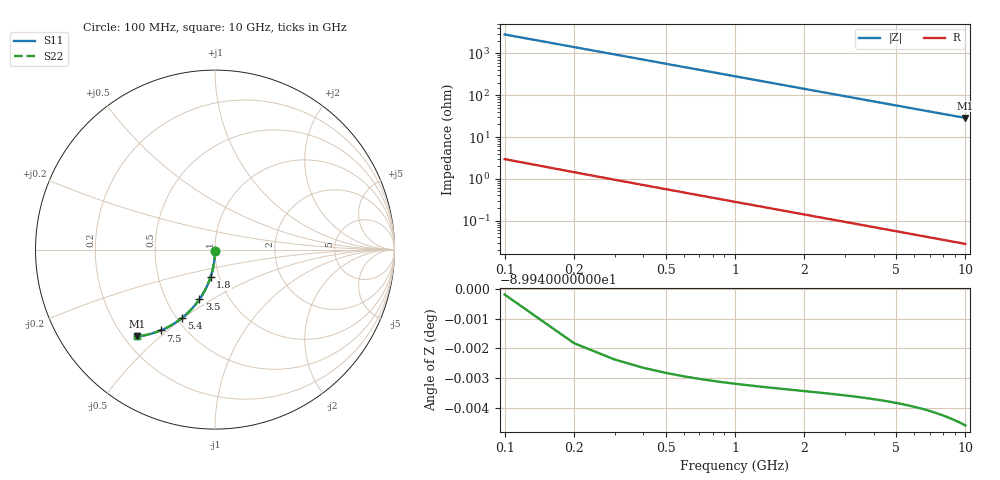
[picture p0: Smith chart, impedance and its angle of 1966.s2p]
# Hz S RI R 50.00
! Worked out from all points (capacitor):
!   100 points, 100 MHz to 10 GHz, reference 50 ohm
!   read as one part in shunt: C = 560 fF near 100 MHz
!   lowest |Z| = 28.7 ohm at 10 GHz (marker M1)
!   S11 on the Smith chart (normalised r, x): 100 MHz: 1.00, -0.02; 1.8 GHz: 0.91, -0.28; 3.5 GHz: 0.73, -0.44; 5.4 GHz: 0.53, -0.49; 7.5 GHz: 0.37, -0.47; 10 GHz: 0.25, -0.42
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1e8  -6.09e-05 -0.00868  0.9999 -0.0089  0.9999 -0.0089  -6.09e-05 -0.00868
2e8  -0.000301 -0.0173  0.9996 -0.0178  0.9996 -0.0178  -0.000301 -0.0173
3e8  -0.000695 -0.026  0.9993 -0.0267  0.9993 -0.0267  -0.000695 -0.026
4e8  -0.00124 -0.0347  0.9987 -0.0356  0.9987 -0.0356  -0.00124 -0.0347
5e8  -0.00195 -0.0433  0.998 -0.0444  0.998 -0.0444  -0.00195 -0.0433
6e8  -0.0028 -0.0519  0.9971 -0.0533  0.9971 -0.0533  -0.0028 -0.0519
8e8  -0.00496 -0.0691  0.995 -0.0709  0.995 -0.0709  -0.00496 -0.0691
1.1e9  -0.00933 -0.0945  0.9906 -0.097  0.9906 -0.097  -0.00933 -0.0945
1.4e9  -0.015 -0.1196  0.9849 -0.1228  0.9849 -0.1228  -0.015 -0.1196
1.8e9  -0.0245 -0.1523  0.9754 -0.1563  0.9754 -0.1563  -0.0245 -0.1523
2.1e9  -0.0331 -0.1761  0.9668 -0.1808  0.9668 -0.1808  -0.0331 -0.1761
2.5e9  -0.0462 -0.2067  0.9537 -0.2124  0.9537 -0.2124  -0.0462 -0.2067
2.9e9  -0.0612 -0.236  0.9387 -0.2425  0.9387 -0.2425  -0.0612 -0.236
3.4e9  -0.0822 -0.2704  0.9177 -0.2781  0.9177 -0.2781  -0.0822 -0.2704
3.5e9  -0.0867 -0.2769  0.9132 -0.2849  0.9132 -0.2849  -0.0867 -0.2769
4.3e9  -0.1252 -0.3256  0.8747 -0.3354  0.8747 -0.3354  -0.1252 -0.3256
5.1e9  -0.1676 -0.3672  0.8323 -0.3789  0.8323 -0.3789  -0.1676 -0.3672
5.4e9  -0.1841 -0.381  0.8157 -0.3933  0.8157 -0.3933  -0.1841 -0.381
6.7e9  -0.2578 -0.4293  0.742 -0.4447  0.742 -0.4447  -0.2578 -0.4293
7.5e9  -0.3033 -0.4506  0.6965 -0.4679  0.6965 -0.4679  -0.3033 -0.4506
8.4e9  -0.3532 -0.4678  0.6465 -0.4872  0.6465 -0.4872  -0.3532 -0.4678
1e10  -0.4364 -0.4838  0.5633 -0.5071  0.5633 -0.5071  -0.4364 -0.4838
